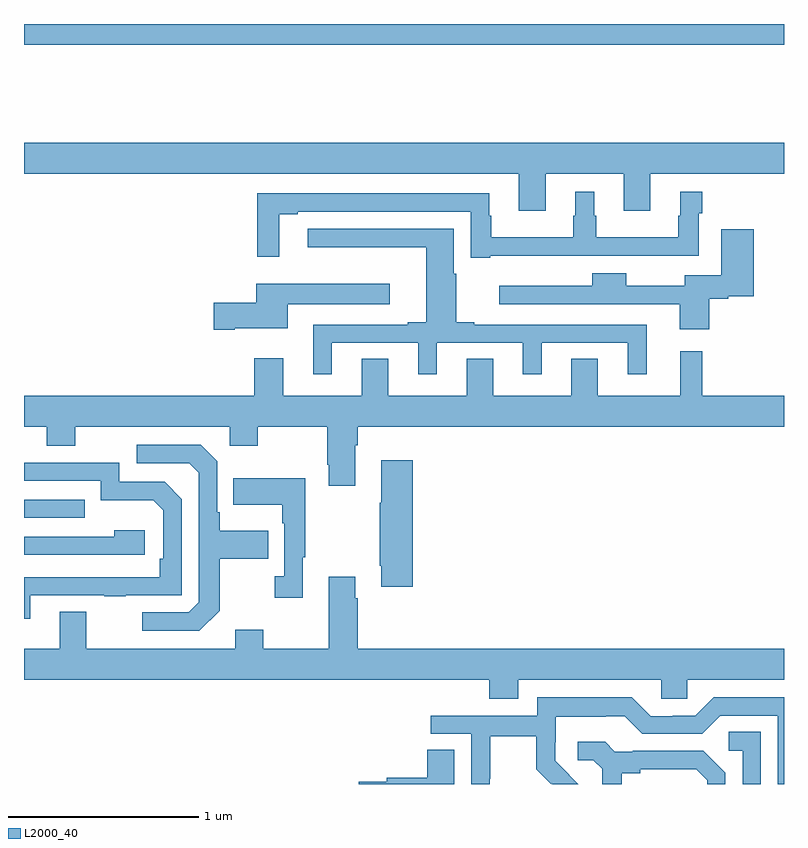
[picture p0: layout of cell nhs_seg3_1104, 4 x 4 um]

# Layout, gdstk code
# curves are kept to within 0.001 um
import gdstk
lib = gdstk.Library(unit=1e-6, precision=1e-09)
def R(c, l, rs):  # rectangles x0, y0, x1, y1
    for r in rs: c.add(gdstk.rectangle(r[:2], r[2:], *l))
def P(c, l, *ps):  # polygons
    for p in ps: c.add(gdstk.Polygon(p, *l))
L2000_40 = (2000, 40)

nhs_seg3_1104 = lib.new_cell('nhs_seg3_1104')
R(nhs_seg3_1104, L2000_40, [(169,669.801,169.319,669.897), (169,672.292,173,672.4)])
P(nhs_seg3_1104, L2000_40, [(171.745,671.612),(172.157,671.612),(172.157,671.418),(172.297,671.418),(172.297,671.612),(173,671.612),(173,671.776),(169,671.776),(169,671.612),(171.605,671.612),(171.605,671.418),(171.745,671.418)],
  [(171.454,671.18),(171.896,671.18),(171.896,671.181),(172.258,671.181),(172.258,671.18),(172.551,671.18),(172.551,671.405),(172.571,671.405),(172.571,671.518),(172.454,671.518),(172.454,671.39),(172.443,671.39),(172.443,671.278),(172.012,671.278),(172.012,671.39),(172,671.39),(172,671.518),(171.902,671.518),(171.902,671.39),(171.891,671.39),(171.891,671.278),(171.46,671.278),(171.46,671.39),(171.448,671.39),(171.448,671.508),(170.227,671.508),(170.227,671.175),(170.344,671.175),(170.344,671.4),(170.44,671.4),(170.44,671.412),(171.351,671.412),(171.351,671.169),(171.454,671.169)],
  [(170.62,670.722),(171.074,670.722),(171.074,670.557),(171.172,670.557),(171.172,670.722),(171.626,670.722),(171.626,670.557),(171.724,670.557),(171.724,670.722),(172.178,670.722),(172.178,670.557),(172.277,670.557),(172.277,670.818),(171.37,670.818),(171.37,670.831),(171.274,670.831),(171.274,671.085),(171.262,671.085),(171.262,671.322),(170.493,671.322),(170.493,671.225),(171.116,671.225),(171.116,670.831),(171.02,670.831),(171.02,670.818),(170.522,670.818),(170.522,670.557),(170.62,670.557)],
  [(172.607,670.955),(172.707,670.955),(172.707,670.967),(172.841,670.967),(172.841,671.32),(172.67,671.32),(172.67,671.077),(172.478,671.077),(172.478,671.023),(172.17,671.023),(172.17,671.089),(171.992,671.089),(171.992,671.023),(171.501,671.023),(171.501,670.926),(172.451,670.926),(172.451,670.794),(172.607,670.794)],
  [(170.11,670.799),(170.389,670.799),(170.389,670.925),(170.926,670.925),(170.926,671.032),(170.222,671.032),(170.222,670.934),(169.998,670.934),(169.998,670.792),(170.11,670.792)],
  [(170.743,670.184),(170.756,670.184),(170.756,670.28),(173,670.28),(173,670.444),(172.571,670.444),(172.571,670.678),(172.454,670.678),(172.454,670.444),(172.021,670.444),(172.021,670.637),(171.881,670.637),(171.881,670.444),(171.469,670.444),(171.469,670.637),(171.329,670.637),(171.329,670.444),(170.917,670.444),(170.917,670.637),(170.777,670.637),(170.777,670.444),(170.365,670.444),(170.365,670.642),(170.213,670.642),(170.213,670.444),(169,670.444),(169,670.28),(169.121,670.28),(169.121,670.181),(169.269,670.181),(169.269,670.28),(170.082,670.28),(170.082,670.181),(170.229,670.181),(170.229,670.28),(170.596,670.28),(170.596,670.081),(170.603,670.081),(170.603,669.969),(170.743,669.969)],
  [(170.029,669.313),(170.029,669.586),(170.285,669.586),(170.285,669.733),(170.029,669.733),(170.029,669.829),(170.016,669.829),(170.016,670.098),(169.929,670.185),(169.593,670.185),(169.593,670.089),(169.869,670.089),(169.92,670.038),(169.92,669.357),(169.866,669.303),(169.623,669.303),(169.623,669.207),(169.923,669.207)],
  [(171.047,670.105),(170.879,670.105),(170.879,669.881),(170.872,669.881),(170.872,669.55),(170.879,669.55),(170.879,669.438),(171.047,669.438)],
  [(169.033,669.393),(169.423,669.393),(169.423,669.388),(169.535,669.388),(169.535,669.393),(169.83,669.393),(169.83,669.9),(169.74,669.99),(169.5,669.99),(169.5,670.092),(169,670.092),(169,669.996),(169.404,669.996),(169.404,669.893),(169.681,669.893),(169.734,669.84),(169.734,669.586),(169.714,669.586),(169.714,669.489),(169,669.488),(169,669.27),(169.033,669.27)],
  [(170.467,669.593),(170.479,669.593),(170.479,670.009),(170.101,670.009),(170.101,669.869),(170.358,669.869),(170.358,669.773),(170.37,669.773),(170.37,669.494),(170.319,669.494),(170.319,669.381),(170.467,669.381)],
  [(169.636,669.736),(169.475,669.736),(169.475,669.702),(169,669.702),(169,669.606),(169.636,669.606)],
  [(171.601,668.948),(172.353,668.948),(172.353,668.85),(172.491,668.85),(172.491,668.948),(173,668.948),(173,669.112),(170.756,669.112),(170.756,669.377),(170.743,669.377),(170.743,669.49),(170.603,669.49),(170.603,669.112),(170.259,669.112),(170.259,669.211),(170.111,669.211),(170.111,669.112),(169.327,669.112),(169.327,669.307),(169.187,669.307),(169.187,669.112),(169,669.112),(169,668.948),(171.449,668.948),(171.449,668.849),(171.601,668.849)],
  [(171.45,668.428),(171.453,668.428),(171.453,668.652),(171.697,668.652),(171.697,668.477),(171.774,668.4),(171.777,668.403),(171.78,668.4),(171.916,668.4),(171.796,668.522),(171.796,668.619),(171.798,668.619),(171.798,668.753),(172.061,668.753),(172.061,668.757),(172.161,668.757),(172.254,668.664),(172.569,668.664),(172.665,668.76),(172.968,668.76),(172.968,668.4),(173,668.4),(173,668.856),(172.629,668.856),(172.533,668.76),(172.415,668.76),(172.415,668.757),(172.299,668.757),(172.199,668.857),(171.702,668.857),(171.702,668.76),(171.141,668.76),(171.141,668.664),(171.354,668.664),(171.354,668.4),(171.45,668.4)],
  [(172.878,668.675),(172.71,668.675),(172.71,668.574),(172.782,668.574),(172.782,668.4),(172.878,668.4)],
  [(172.147,668.456),(172.243,668.456),(172.243,668.478),(172.538,668.478),(172.595,668.421),(172.595,668.4),(172.692,668.4),(172.692,668.458),(172.576,668.574),(172.204,668.574),(172.204,668.571),(172.11,668.571),(172.058,668.623),(171.915,668.623),(171.915,668.526),(171.996,668.526),(172.043,668.479),(172.043,668.4),(172.147,668.4)],
  [(171.265,668.579),(171.122,668.579),(171.122,668.432),(170.908,668.432),(170.908,668.412),(170.762,668.412),(170.762,668.4),(171.265,668.4)])

lib.write_gds('nhs_seg3_1104.gds')
